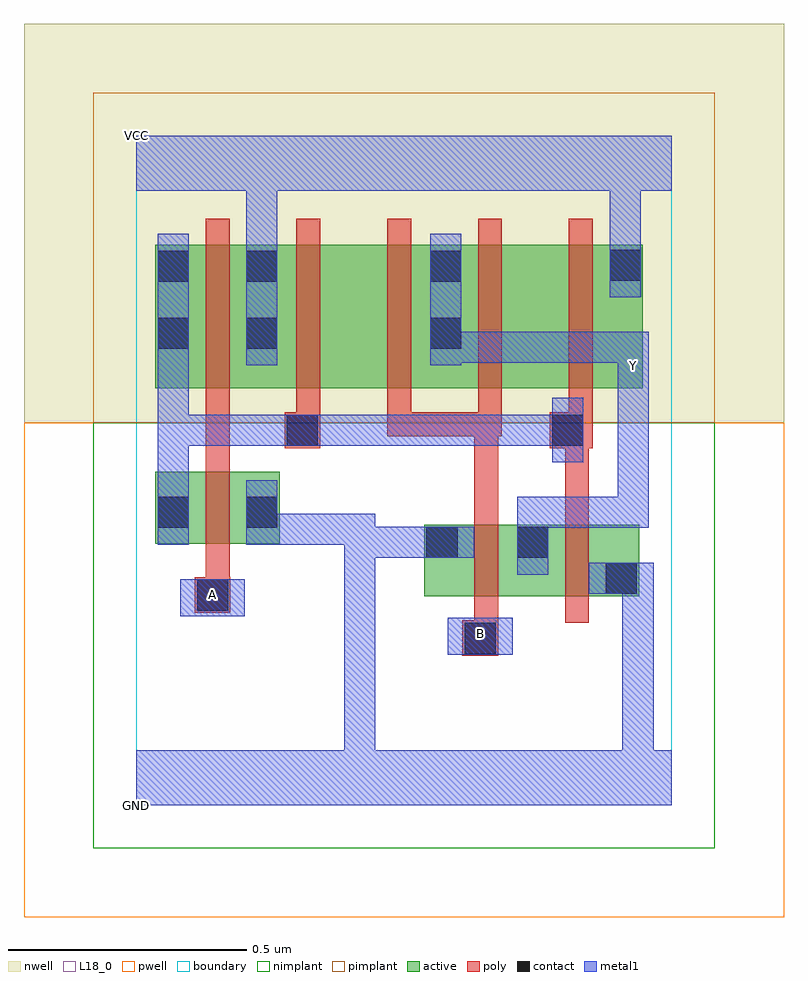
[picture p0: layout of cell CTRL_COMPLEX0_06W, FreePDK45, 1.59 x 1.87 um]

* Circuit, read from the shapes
.subckt CTRL_COMPLEX0_06W A B GND VCC Y
M1 GND A n1 VSUBS nfet w=0.15u l=0.05u
M2 Y B GND VSUBS nfet w=0.15u l=0.05u
M3 GND n1 Y VSUBS nfet w=0.15u l=0.05u
M4 VCC A n1 n2 pfet w=0.3u l=0.05u
M5 n3 n1 VCC n2 pfet w=0.3u l=0.05u
M6 Y B n3 n2 pfet w=0.3u l=0.05u
M7 n4 B Y n2 pfet w=0.3u l=0.05u
M8 VCC n1 n4 n2 pfet w=0.3u l=0.05u
.ends

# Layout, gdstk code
import gdstk
lib = gdstk.Library(unit=1e-6, precision=1e-09)
def R(c, l, rs):  # rectangles x0, y0, x1, y1
    for r in rs: c.add(gdstk.rectangle(r[:2], r[2:], *l))
def A(c, l, x, y, w, h, nx, ny, dx, dy):  # array of equal rectangles
    R(c, l, [(x+i*dx, y+j*dy, x+i*dx+w, y+j*dy+h) for i in range(nx) for j in range(ny)])
active = (1, 0)
pwell = (2, 0)
nwell = (3, 0)
nimplant = (4, 0)
pimplant = (5, 0)
poly = (9, 0)
contact = (10, 0)
metal1 = (11, 0)
L18_0 = (18, 0)
boundary = (235, 0)

ctrl_complex0_06w = lib.new_cell('CTRL_COMPLEX0_06W')
R(ctrl_complex0_06w, active, [(0.602,0.437,0.677,0.587), (0.602,0.437,0.867,0.587), (0.792,0.437,0.867,0.587), (0.792,0.437,1.052,0.587), (0.977,0.437,1.052,0.587), (0.04,0.547,0.115,0.697), (0.04,0.547,0.3,0.697), (0.225,0.547,0.3,0.697), (0.04,0.872,0.115,1.165), (0.04,0.872,0.3,1.172), (0.225,0.872,0.455,1.172), (0.225,0.872,0.3,1.165), (0.455,0.872,0.685,1.172), (0.61,0.872,0.685,1.172), (0.61,0.872,0.835,1.172), (0.835,0.872,1.06,1.172), (0.985,0.872,1.06,1.172)])
R(ctrl_complex0_06w, pwell, [(-0.235,-0.235,1.355,0.8)])
R(ctrl_complex0_06w, nwell, [(-0.235,0.8,1.355,1.635)])
R(ctrl_complex0_06w, nimplant, [(-0.09,-0.09,1.21,0.8)])
R(ctrl_complex0_06w, pimplant, [(-0.09,0.8,1.21,1.49)])
A(ctrl_complex0_06w, poly, 0.335, 0.772, 0.05, 0.095, 4, 1, 0.19, 0)
A(ctrl_complex0_06w, poly, 0.145, 0.817, 0.05, 0.41, 5, 1, 0.19, 0)
R(ctrl_complex0_06w, poly, [(0.682,0.312,0.757,0.387), (0.707,0.337,0.757,0.432), (0.707,0.382,0.757,0.642), (0.897,0.382,0.947,0.642), (0.122,0.402,0.197,0.477), (0.145,0.427,0.195,0.542), (0.145,0.492,0.195,0.752), (0.707,0.592,0.757,0.822), (0.897,0.592,0.947,0.797), (0.145,0.702,0.195,0.797), (0.145,0.747,0.195,0.797), (0.145,0.747,0.195,0.867), (0.31,0.747,0.385,0.822), (0.865,0.747,0.955,0.822), (0.525,0.772,0.757,0.822), (0.525,0.772,0.575,0.822), (0.525,0.772,0.575,0.822), (0.525,0.772,0.575,0.822), (0.707,0.772,0.765,0.822)])
R(ctrl_complex0_06w, contact, [(0.687,0.317,0.752,0.382), (0.127,0.407,0.192,0.472), (0.982,0.442,1.047,0.507), (0.607,0.517,0.672,0.582), (0.797,0.517,0.862,0.582), (0.045,0.58,0.11,0.645), (0.23,0.58,0.295,0.645), (0.315,0.752,0.38,0.817), (0.87,0.752,0.935,0.817), (0.045,0.955,0.11,1.02), (0.23,0.955,0.295,1.02), (0.615,0.955,0.68,1.02), (0.045,1.095,0.11,1.16), (0.23,1.095,0.295,1.16), (0.615,1.095,0.68,1.16), (0.99,1.097,1.055,1.162)])
R(ctrl_complex0_06w, metal1, [(0,0,1.12,0.115), (0.435,0.05,0.5,0.115), (0.435,0.05,0.5,0.115), (0.435,0.05,0.5,0.115), (0.435,0.05,0.5,0.115), (0.435,0.05,0.5,0.582), (1.017,0.05,1.082,0.115), (1.017,0.05,1.082,0.115), (1.017,0.05,1.082,0.507), (0.652,0.315,0.787,0.392), (0.092,0.395,0.227,0.472), (0.947,0.442,1.082,0.507), (1.017,0.442,1.082,0.507), (1.017,0.442,1.082,0.507), (1.017,0.442,1.082,0.507), (1.017,0.442,1.082,0.507), (1.017,0.442,1.082,0.507), (1.017,0.442,1.082,0.507), (0.797,0.482,0.862,0.617), (0.435,0.517,0.5,0.582), (0.435,0.517,0.5,0.582), (0.435,0.517,0.5,0.582), (0.435,0.517,0.5,0.582), (0.435,0.517,0.5,0.582), (0.435,0.517,0.5,0.582), (0.435,0.517,0.5,0.61), (0.435,0.517,0.552,0.582), (0.487,0.517,0.552,0.582), (0.487,0.517,0.637,0.582), (0.572,0.517,0.707,0.582), (0.045,0.545,0.11,0.68), (0.23,0.545,0.295,0.61), (0.23,0.545,0.295,0.61), (0.23,0.545,0.295,0.68), (0.23,0.545,0.5,0.61), (0.797,0.552,0.862,0.617), (0.797,0.552,0.862,0.645), (0.797,0.58,1.072,0.645), (1.007,0.58,1.072,0.645), (1.007,0.58,1.072,0.917), (0.045,0.615,0.11,0.817), (0.87,0.717,0.935,0.852), (0.045,0.752,0.11,0.817), (0.045,0.752,0.11,0.817), (0.045,0.752,0.11,0.817), (0.045,0.752,0.345,0.817), (0.045,0.752,0.11,0.985), (0.28,0.752,0.345,0.817), (0.28,0.752,0.345,0.817), (0.28,0.752,0.415,0.817), (0.35,0.752,0.482,0.817), (0.417,0.752,0.482,0.817), (0.417,0.752,0.58,0.817), (0.515,0.752,0.58,0.817), (0.515,0.752,0.725,0.817), (0.66,0.752,0.725,0.817), (0.66,0.752,0.725,0.817), (0.66,0.752,0.725,0.817), (0.66,0.752,0.875,0.817), (0.81,0.752,0.875,0.817), (0.81,0.752,0.935,0.817), (1.007,0.852,1.072,0.99), (0.045,0.92,0.11,1.195), (0.23,0.92,0.295,1.195), (0.615,0.92,0.68,1.195), (0.615,0.925,0.717,0.99), (0.652,0.925,0.717,0.99), (0.652,0.925,0.862,0.99), (0.797,0.925,0.862,0.99), (0.797,0.925,0.862,0.99), (0.797,0.925,0.862,0.99), (0.797,0.925,1.072,0.99), (1.007,0.925,1.072,0.99), (1.007,0.925,1.072,0.99), (0.99,1.062,1.055,1.197), (0.23,1.13,0.295,1.195), (0.23,1.13,0.295,1.195), (0.23,1.13,0.295,1.35), (0.99,1.132,1.055,1.197), (0.99,1.132,1.055,1.197), (0.99,1.132,1.055,1.35), (0,1.285,1.12,1.4)])
R(ctrl_complex0_06w, L18_0, [(0,0,1.12,0.115), (0.435,0.05,0.5,0.115), (0.435,0.05,0.5,0.115), (0.435,0.05,0.5,0.115), (0.435,0.05,0.5,0.115), (0.435,0.05,0.5,0.582), (1.017,0.05,1.082,0.115), (1.017,0.05,1.082,0.115), (1.017,0.05,1.082,0.507), (0.652,0.315,0.787,0.392), (0.687,0.327,0.752,0.392), (0.092,0.395,0.227,0.472), (0.127,0.407,0.192,0.472), (0.947,0.442,1.082,0.507), (1.017,0.442,1.082,0.507), (1.017,0.442,1.082,0.507), (1.017,0.442,1.082,0.507), (1.017,0.442,1.082,0.507), (1.017,0.442,1.082,0.507), (1.017,0.442,1.082,0.507), (0.797,0.482,0.862,0.617), (0.435,0.517,0.5,0.582), (0.435,0.517,0.5,0.582), (0.435,0.517,0.5,0.582), (0.435,0.517,0.5,0.582), (0.435,0.517,0.5,0.582), (0.435,0.517,0.5,0.582), (0.435,0.517,0.5,0.61), (0.435,0.517,0.552,0.582), (0.487,0.517,0.552,0.582), (0.487,0.517,0.637,0.582), (0.572,0.517,0.707,0.582), (0.23,0.545,0.295,0.68), (0.23,0.545,0.295,0.61), (0.23,0.545,0.295,0.61), (0.23,0.545,0.5,0.61), (0.797,0.552,0.862,0.617), (0.797,0.552,0.862,0.645), (0.797,0.58,1.072,0.645), (1.007,0.58,1.072,0.645), (1.007,0.58,1.072,0.917), (1.007,0.852,1.072,0.99), (1.007,0.887,1.072,0.952), (0.23,0.92,0.295,1.195), (0.615,0.92,0.68,1.195), (0.615,0.925,0.717,0.99), (0.652,0.925,0.717,0.99), (0.652,0.925,0.862,0.99), (0.797,0.925,0.862,0.99), (0.797,0.925,0.862,0.99), (0.797,0.925,0.862,0.99), (0.797,0.925,1.072,0.99), (1.007,0.925,1.072,0.99), (1.007,0.925,1.072,0.99), (0.99,1.062,1.055,1.197), (0.23,1.13,0.295,1.195), (0.23,1.13,0.295,1.195), (0.23,1.13,0.295,1.35), (0.99,1.132,1.055,1.197), (0.99,1.132,1.055,1.197), (0.99,1.132,1.055,1.35), (0,1.285,1.12,1.4)])
R(ctrl_complex0_06w, boundary, [(0,0,1.12,1.4)])
ctrl_complex0_06w.add(gdstk.Label('A', (0.16,0.44), layer=11, texttype=0))
ctrl_complex0_06w.add(gdstk.Label('B', (0.72,0.36), layer=11, texttype=0))
ctrl_complex0_06w.add(gdstk.Label('Y', (1.04,0.92), layer=11, texttype=0))
ctrl_complex0_06w.add(gdstk.Label('VCC', (0,1.4), layer=11, texttype=0))
ctrl_complex0_06w.add(gdstk.Label('GND', (0,0), layer=11, texttype=0))

lib.write_gds('CTRL_COMPLEX0_06W.gds')
